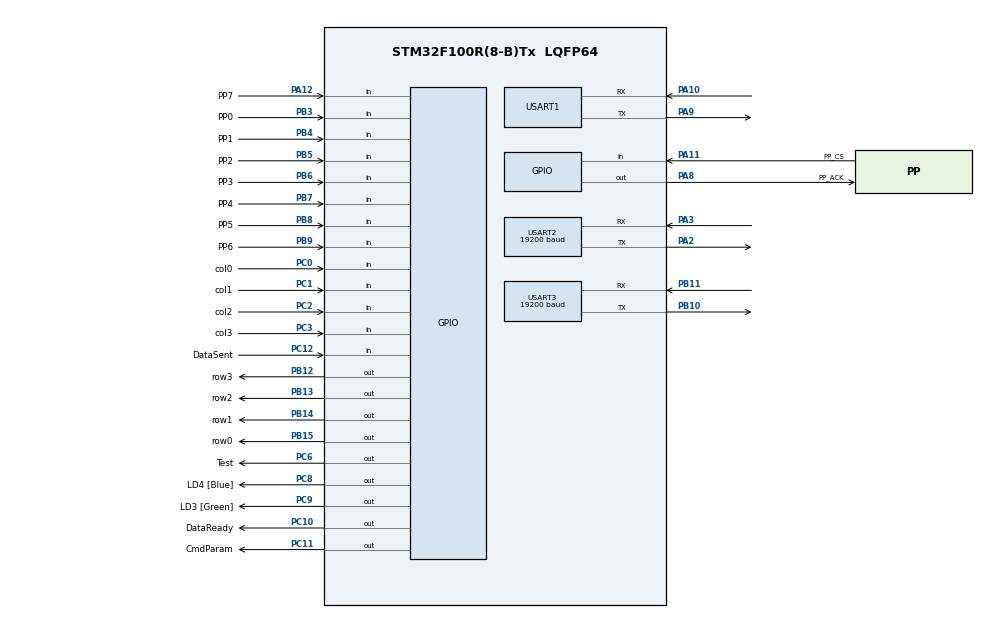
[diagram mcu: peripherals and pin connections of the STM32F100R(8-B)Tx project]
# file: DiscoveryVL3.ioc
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FREERTOS.HEAP_NUMBER=3
FREERTOS.Queues01=keypressed,16,uint16_t,0,Dynamic,NULL,NULL;Send7200,16,uint16_t,0,Dynamic,NULL,NULL;SendAVR,16,uint16_t,0,Dynamic,NULL,NULL;SendFPGA,16,uint16_t,0,Dynamic,NULL,NULL
FREERTOS.Tasks01=defaultTask,0,128,StartDefaultTask,Default,NULL,Dynamic,NULL,NULL;myTask04,-3,128,StartAVRTask,Default,NULL,Dynamic,NULL,NULL;myTask05,-3,128,StartTask7200,Default,NULL,Dynamic,NULL,NULL;myTask06,-3,128,StartRecv7200,Default,NULL,Dynamic,NULL,NULL;myTask08,-3,128,StartSendFPGA,Default,NULL,Dynamic,NULL,NULL;myTask09,-3,128,StartRecvFPGA,Default,NULL,Dynamic,NULL,NULL;myTask10,-3,128,StartKeyStateTask,Default,NULL,Dynamic,NULL,NULL
FREERTOS.Timers01=myTimer01,Callback01,osTimerPeriodic,Default,NULL,Dynamic,NULL
FREERTOS.configTOTAL_HEAP_SIZE=8000
FREERTOS.configUSE_TIMERS=1
Mcu.Family=STM32F1
Mcu.Name=STM32F100R(8-B)Tx
Mcu.Package=LQFP64
NVIC.PriorityGroup=NVIC_PRIORITYGROUP_4
NVIC.TIM1_UP_TIM16_IRQn=true\:0\:0\:false\:false\:true\:false\:false
NVIC.TimeBase=TIM1_UP_TIM16_IRQn
NVIC.TimeBaseIP=TIM1
NVIC.USART1_IRQn=true\:5\:0\:false\:false\:true\:true\:true
PA0-WKUP.Mode=SYS_WakeUp0
PA0-WKUP.Signal=SYS_WKUP
PA10.Mode=Asynchronous
PA10.Signal=USART1_RX
PA11.GPIO_Label=PP_CS
PA11.GPIO_PuPd=GPIO_PULLUP
PA11.Signal=GPIO_Input
PA12.GPIO_Label=PP7
PA12.GPIO_PuPd=GPIO_PULLUP
PA12.Signal=GPIO_Input
PA13.GPIO_Label=TMS_SWDIO
PA13.Mode=Serial_Wire
PA13.Signal=SYS_JTMS-SWDIO
PA14.GPIO_Label=TCK_SWCLK
PA14.Mode=Serial_Wire
PA14.Signal=SYS_JTCK-SWCLK
PA2.Mode=Asynchronous
PA2.Signal=USART2_TX
PA3.Mode=Asynchronous
PA3.Signal=USART2_RX
PA8.GPIO_Label=PP_ACK
PA8.GPIO_PuPd=GPIO_PULLUP
PA8.Signal=GPIO_Output
PA9.Mode=Asynchronous
PA9.Signal=USART1_TX
PB10.Mode=Asynchronous
PB10.Signal=USART3_TX
PB11.Mode=Asynchronous
PB11.Signal=USART3_RX
PB12.GPIO_Label=row3
PB12.GPIO_PuPd=GPIO_PULLUP
PB12.Signal=GPIO_Output
PB13.GPIO_Label=row2
PB13.GPIO_PuPd=GPIO_PULLUP
PB13.Signal=GPIO_Output
PB14.GPIO_Label=row1
PB14.GPIO_PuPd=GPIO_PULLUP
PB14.Signal=GPIO_Output
PB15.GPIO_Label=row0
PB15.GPIO_PuPd=GPIO_PULLUP
PB15.Signal=GPIO_Output
PB3.GPIO_Label=PP0
PB3.GPIO_PuPd=GPIO_PULLUP
PB3.Signal=GPIO_Input
PB4.GPIO_Label=PP1
PB4.GPIO_PuPd=GPIO_PULLUP
PB4.Signal=GPIO_Input
PB5.GPIO_Label=PP2
PB5.GPIO_PuPd=GPIO_PULLUP
PB5.Signal=GPIO_Input
PB6.GPIO_Label=PP3
PB6.GPIO_PuPd=GPIO_PULLUP
PB6.Signal=GPIO_Input
PB7.GPIO_Label=PP4
PB7.GPIO_PuPd=GPIO_PULLUP
PB7.Signal=GPIO_Input
PB8.GPIO_Label=PP5
PB8.GPIO_PuPd=GPIO_PULLUP
PB8.Signal=GPIO_Input
PB9.GPIO_Label=PP6
PB9.GPIO_PuPd=GPIO_PULLUP
PB9.Signal=GPIO_Input
PC0.GPIO_Label=col0
PC0.GPIO_PuPd=GPIO_PULLUP
PC0.Signal=GPIO_Input
PC1.GPIO_Label=col1
PC1.GPIO_PuPd=GPIO_PULLUP
PC1.Signal=GPIO_Input
PC10.GPIO_Label=DataReady
PC10.GPIO_PuPd=GPIO_PULLUP
PC10.Signal=GPIO_Output
PC11.GPIO_Label=CmdParam
PC11.GPIO_PuPd=GPIO_PULLUP
PC11.Signal=GPIO_Output
PC12.GPIO_Label=DataSent
PC12.GPIO_PuPd=GPIO_PULLUP
PC12.Signal=GPIO_Input
PC14-OSC32_IN.Mode=LSE-External-Oscillator
PC14-OSC32_IN.Signal=RCC_OSC32_IN
PC15-OSC32_OUT.Mode=LSE-External-Oscillator
PC15-OSC32_OUT.Signal=RCC_OSC32_OUT
PC2.GPIO_Label=col2
PC2.GPIO_PuPd=GPIO_PULLUP
PC2.Signal=GPIO_Input
PC3.GPIO_Label=col3
PC3.GPIO_PuPd=GPIO_PULLUP
PC3.Signal=GPIO_Input
PC6.GPIO_Label=Test
PC6.GPIO_PuPd=GPIO_PULLUP
PC6.Signal=GPIO_Output
PC8.GPIO_Label=LD4 [Blue]
PC8.Signal=GPIO_Output
PC9.GPIO_Label=LD3 [Green]
PC9.Signal=GPIO_Output
PD0-OSC_IN.Mode=HSE-External-Oscillator
PD0-OSC_IN.Signal=RCC_OSC_IN
PD1-OSC_OUT.Mode=HSE-External-Oscillator
PD1-OSC_OUT.Signal=RCC_OSC_OUT
ProjectManager.HeapSize=0x200
ProjectManager.StackSize=0x400
ProjectManager.TargetToolchain=TrueSTUDIO
RCC.APB1Freq_Value=8000000
RCC.APB2Freq_Value=8000000
USART1.VirtualMode=VM_ASYNC
USART2.BaudRate=19200
USART2.VirtualMode=VM_ASYNC
USART3.BaudRate=19200
USART3.VirtualMode=VM_ASYNC
VP_FREERTOS_VS_ENABLE.Mode=Enabled
VP_SYS_VS_tim1.Mode=TIM1
board=STM32VLDISCOVERY

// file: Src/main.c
/* USER CODE BEGIN Header */
/**
  ******************************************************************************
  * @file           : main.c
  * @brief          : Main program body
  ******************************************************************************
  * @attention
  *
  * <h2><center>&copy; Copyright (c) 2019 STMicroelectronics.
  * All rights reserved.</center></h2>
  *
  * This software component is licensed by ST under Ultimate Liberty license
  * SLA0044, the "License"; You may not use this file except in compliance with
  * the License. You may obtain a copy of the License at:
  *                             www.st.com/SLA0044
  *
  ******************************************************************************
  */
/* USER CODE END Header */

#include "main.h"
#include "cmsis_os.h"
#include "usart.h"
#include "gpio.h"

void SystemClock_Config(void);
void MX_FREERTOS_Init(void);

int main(void)
{

  /* MCU Configuration--------------------------------------------------------*/

  /* Reset of all peripherals, Initializes the Flash interface and the Systick. */
  HAL_Init();

  /* Configure the system clock */
  SystemClock_Config();

  /* Initialize all configured peripherals */
  MX_GPIO_Init();
  MX_USART1_UART_Init();
  MX_USART2_UART_Init();
  MX_USART3_UART_Init();

  /* Call init function for freertos objects (in freertos.c) */
  MX_FREERTOS_Init();

  /* Start scheduler */
  osKernelStart();

  /* We should never get here as control is now taken by the scheduler */

  /* Infinite loop */
  while (1)
  {

  }
}

void SystemClock_Config(void)
{
  RCC_OscInitTypeDef RCC_OscInitStruct = {0};
  RCC_ClkInitTypeDef RCC_ClkInitStruct = {0};

  /** Initializes the CPU, AHB and APB busses clocks
  */
  RCC_OscInitStruct.OscillatorType = RCC_OSCILLATORTYPE_HSI;
  RCC_OscInitStruct.HSIState = RCC_HSI_ON;
  RCC_OscInitStruct.HSICalibrationValue = RCC_HSICALIBRATION_DEFAULT;
  RCC_OscInitStruct.PLL.PLLState = RCC_PLL_NONE;
  if (HAL_RCC_OscConfig(&RCC_OscInitStruct) != HAL_OK)
  {
    Error_Handler();
  }
  /** Initializes the CPU, AHB and APB busses clocks
  */
  RCC_ClkInitStruct.ClockType = RCC_CLOCKTYPE_HCLK|RCC_CLOCKTYPE_SYSCLK
                              |RCC_CLOCKTYPE_PCLK1|RCC_CLOCKTYPE_PCLK2;
  RCC_ClkInitStruct.SYSCLKSource = RCC_SYSCLKSOURCE_HSI;
  RCC_ClkInitStruct.AHBCLKDivider = RCC_SYSCLK_DIV1;
  RCC_ClkInitStruct.APB1CLKDivider = RCC_HCLK_DIV1;
  RCC_ClkInitStruct.APB2CLKDivider = RCC_HCLK_DIV1;

  if (HAL_RCC_ClockConfig(&RCC_ClkInitStruct, FLASH_LATENCY_0) != HAL_OK)
  {
    Error_Handler();
  }
}

void HAL_TIM_PeriodElapsedCallback(TIM_HandleTypeDef *htim)
{
  if (htim->Instance == TIM1) {
    HAL_IncTick();
  }
}

void Error_Handler(void)
{
}

/************************ (C) COPYRIGHT STMicroelectronics *****END OF FILE****/

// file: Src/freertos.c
/* USER CODE BEGIN Header */
/**
  ******************************************************************************
  * File Name          : freertos.c
  * Description        : Code for freertos applications
  ******************************************************************************
  * This notice applies to any and all portions of this file
  * that are not between comment pairs USER CODE BEGIN and
  * USER CODE END. Other portions of this file, whether
  * inserted by the user or by software development tools
  * are owned by their respective copyright owners.
  *
  * Copyright (c) 2019 STMicroelectronics International N.V.
  * All rights reserved.
  *
  * Redistribution and use in source and binary forms, with or without
  * modification, are permitted, provided that the following conditions are met:
  *
  * 1. Redistribution of source code must retain the above copyright notice,
  *    this list of conditions and the following disclaimer.
  * 2. Redistributions in binary form must reproduce the above copyright notice,
  *    this list of conditions and the following disclaimer in the documentation
  *    and/or other materials provided with the distribution.
  * 3. Neither the name of STMicroelectronics nor the names of other
  *    contributors to this software may be used to endorse or promote products
  *    derived from this software without specific written permission.
  * 4. This software, including modifications and/or derivative works of this
  *    software, must execute solely and exclusively on microcontroller or
  *    microprocessor devices manufactured by or for STMicroelectronics.
  * 5. Redistribution and use of this software other than as permitted under
  *    this license is void and will automatically terminate your rights under
  *    this license.
  *
  * THIS SOFTWARE IS PROVIDED BY STMICROELECTRONICS AND CONTRIBUTORS "AS IS"
  * AND ANY EXPRESS, IMPLIED OR STATUTORY WARRANTIES, INCLUDING, BUT NOT
  * LIMITED TO, THE IMPLIED WARRANTIES OF MERCHANTABILITY, FITNESS FOR A
  * PARTICULAR PURPOSE AND NON-INFRINGEMENT OF THIRD PARTY INTELLECTUAL PROPERTY
  * RIGHTS ARE DISCLAIMED TO THE FULLEST EXTENT PERMITTED BY LAW. IN NO EVENT
  * SHALL STMICROELECTRONICS OR CONTRIBUTORS BE LIABLE FOR ANY DIRECT, INDIRECT,
  * INCIDENTAL, SPECIAL, EXEMPLARY, OR CONSEQUENTIAL DAMAGES (INCLUDING, BUT NOT
  * LIMITED TO, PROCUREMENT OF SUBSTITUTE GOODS OR SERVICES; LOSS OF USE, DATA,
  * OR PROFITS; OR BUSINESS INTERRUPTION) HOWEVER CAUSED AND ON ANY THEORY OF
  * LIABILITY, WHETHER IN CONTRACT, STRICT LIABILITY, OR TORT (INCLUDING
  * NEGLIGENCE OR OTHERWISE) ARISING IN ANY WAY OUT OF THE USE OF THIS SOFTWARE,
  * EVEN IF ADVISED OF THE POSSIBILITY OF SUCH DAMAGE.
  *
  ******************************************************************************
  */
/* USER CODE END Header */
#if 1
#include "FreeRTOS.h"
#include "task.h"
#include "main.h"
#include "cmsis_os.h"

/* USER CODE BEGIN Includes */
#include "dwt_stm32_delay.h"
#include "../mytypes.h"
#include "ds1620.h"
#include "freertos_defs.h"
#include "usart.h"
#include "screen.h"
#include "string.h"
#include "stdlib.h"
#include "gpio.h"

/* USER CODE END Includes */

/* USER CODE BEGIN PTD */
#define SEND_FPGA_DELAY() vTaskDelay(5)
// WARNING! - if this gets pulled up on STM32CubeMX it will reset the queues
// to 16 of uint16_t instead of  5 of uint64_t which has to be manually setOneRowLow
// I just forgot to change it when I redid the whole thing under CubeMX
// however, the keypressedHandle is still 16 of uint16_t tho...
typedef enum
{
	STATE_WAIT_FOR_PRESS = 1,
	STATE_WAIT_FOR_RELEASE
} ISRSTATE;

static ISRSTATE e_isrState;

const uint8_t au8_keyTable[NUM_ROWS][NUM_COLS] =
{
/*
	{KP_1, KP_2, KP_3, KP_A },
	{KP_4, KP_5, KP_6, KP_B },
	{KP_7, KP_8, KP_9, KP_C },
	{KP_AST, KP_0, KP_POUND, KP_D}
*/
	{KP_AST, KP_0, KP_POUND, KP_D},
	{KP_7, KP_8, KP_9, KP_C },
	{KP_4, KP_5, KP_6, KP_B },
	{KP_1, KP_2, KP_3, KP_A }
};

uint64_t pack64(UCHAR *buff);
//uint32_t pack32(UCHAR *buff);

/* USER CODE END PTD */

/* USER CODE BEGIN Variables */
// variables used by the DS1620 conversion in timer Callback01
uint64_t global_avr_buffer[5];
UCHAR global_ucbuff[8];
UCHAR global_cmd;
static int raw_data;	// engine temp
static int raw_data2;	// indoor temp
static int temp_raw;
static int test_rise_temp;
static int too_high_flag;
static int cooling_fan_override;
static int blower_override;
static uint16_t engine_temp_limit = 190;
static uint16_t fan_on_temp = 175;	// 185F
static uint16_t fan_off_temp = 150;
static uint16_t blower1_temp = 65;
static uint16_t blower2_temp = 55;
static uint16_t blower3_temp = 45;
static uint16_t blower_en_temp = 70;
static uint16_t batt_box_temp = 75;
static int blower_on_countdown = 5;
static int send_adc = 0;
//static uint16_t lights_on_delay = 5;	// default is 3 seconds
//static UCHAR key_mode1, key_mode2;
static int server_up = 0;
//static UCHAR buff[SERIAL_BUFF_SIZE+1];
static int timer_toggle;
static int blower_on;
static int fan_on;
static int engine_on;
//static int system_up;
static int run_time;
static int rtdata_update_rate;

static KEY_MODE key_mode;
/*	(from freertos_defs.h)
typedef enum
{
	NORMAL,
	PASSWORD,
	NUM_ENTRY,
}KEY_MODE;
*/
static char password[PASSWORD_SIZE];
static char correct_password[PASSWORD_SIZE];
static int password_ptr = 0;
static int password_retries = 3;
static int password_countdown = 0;
static int init_password_retries = 3;
static int init_password_countdown = 10;

//static char num_entry_num[SIZE_NUM];
//static int task7on;

static void setOneRowLow(uint8_t u8_x)
{
	switch (u8_x)
	{
		case 0:

			HAL_GPIO_WritePin(GPIOB, row0, GPIO_PIN_SET);
			HAL_GPIO_WritePin(GPIOB, row1, GPIO_PIN_SET);
			HAL_GPIO_WritePin(GPIOB, row2, GPIO_PIN_SET);
			HAL_GPIO_WritePin(GPIOB, row3, GPIO_PIN_RESET);
			break;
		case 1:
			HAL_GPIO_WritePin(GPIOB, row0, GPIO_PIN_SET);
			HAL_GPIO_WritePin(GPIOB, row1, GPIO_PIN_SET);
			HAL_GPIO_WritePin(GPIOB, row2, GPIO_PIN_RESET);
			HAL_GPIO_WritePin(GPIOB, row3, GPIO_PIN_SET);
			break;
		case 2:
			HAL_GPIO_WritePin(GPIOB, row0, GPIO_PIN_SET);
			HAL_GPIO_WritePin(GPIOB, row1, GPIO_PIN_RESET);
			HAL_GPIO_WritePin(GPIOB, row2, GPIO_PIN_SET);
			HAL_GPIO_WritePin(GPIOB, row3, GPIO_PIN_SET);
			break;
		case 3:
			HAL_GPIO_WritePin(GPIOB, row0, GPIO_PIN_RESET);
			HAL_GPIO_WritePin(GPIOB, row1, GPIO_PIN_SET);
			HAL_GPIO_WritePin(GPIOB, row2, GPIO_PIN_SET);
			HAL_GPIO_WritePin(GPIOB, row3, GPIO_PIN_SET);
			break;
		default:
			HAL_GPIO_WritePin(GPIOB, row0, GPIO_PIN_SET);
			HAL_GPIO_WritePin(GPIOB, row1, GPIO_PIN_SET);
			HAL_GPIO_WritePin(GPIOB, row2, GPIO_PIN_SET);
			HAL_GPIO_WritePin(GPIOB, row3, GPIO_PIN_SET);
			break;
	}
}

static void drive_row_high(void)
{
	HAL_GPIO_WritePin(GPIOB, row0, GPIO_PIN_SET);
	HAL_GPIO_WritePin(GPIOB, row1, GPIO_PIN_SET);
	HAL_GPIO_WritePin(GPIOB, row2, GPIO_PIN_SET);
	HAL_GPIO_WritePin(GPIOB, row3, GPIO_PIN_SET);
}

/*
int key_is_pressed(void)
{
	GPIO_PinState state0, state1, state2, state3;

	state0 = HAL_GPIO_ReadPin(GPIOC,col0);
	state1 = HAL_GPIO_ReadPin(GPIOC,col1);
	state2 = HAL_GPIO_ReadPin(GPIOC,col2);
	state3 = HAL_GPIO_ReadPin(GPIOC,col3);
	if (state0 == GPIO_PIN_RESET || state1 == GPIO_PIN_RESET ||
					state2 == GPIO_PIN_RESET || state3 == GPIO_PIN_RESET)
		return 1;

	return 0;
}
*/

int key_is_released(void)
{
	GPIO_PinState state0, state1, state2, state3;

	state0 = HAL_GPIO_ReadPin(GPIOC,col0);
	state1 = HAL_GPIO_ReadPin(GPIOC,col1);
	state2 = HAL_GPIO_ReadPin(GPIOC,col2);
	state3 = HAL_GPIO_ReadPin(GPIOC,col3);
	if (state0 == GPIO_PIN_SET && state1 == GPIO_PIN_SET &&
					state2 == GPIO_PIN_SET && state3 == GPIO_PIN_SET)
		return 1;

	return 0;
}

UCHAR do_keyscan(void)
{
	uint8_t u8_row;
	UCHAR key_pressed;
	GPIO_PinState state;

	key_pressed = 0;
//	drive_row_high();

	for (u8_row = 0; u8_row < NUM_ROWS; u8_row++)
	{
		setOneRowLow(u8_row);
//			vTaskDelay(1);
		state = HAL_GPIO_ReadPin(GPIOC,col0);
		if(state == GPIO_PIN_RESET)
		{
			key_pressed = (au8_keyTable[u8_row][0]);
			return key_pressed;
		}
		state = HAL_GPIO_ReadPin(GPIOC,col1);
		if(state == GPIO_PIN_RESET)
		{
			key_pressed = (au8_keyTable[u8_row][1]);
			return key_pressed;
		}
		state = HAL_GPIO_ReadPin(GPIOC,col2);
		if(state == GPIO_PIN_RESET)
		{
			key_pressed = (au8_keyTable[u8_row][2]);
			return key_pressed;
		}
		state = HAL_GPIO_ReadPin(GPIOC,col3);
		if(state == GPIO_PIN_RESET)
		{
			key_pressed = (au8_keyTable[u8_row][3]);
			return key_pressed;
		}
	}
	return 0;
}

/* USER CODE END Variables */
osThreadId defaultTaskHandle;
osThreadId myTask04Handle;
osThreadId myTask05Handle;
osThreadId myTask06Handle;
osThreadId myTask08Handle;
osThreadId myTask09Handle;
osThreadId myTask10Handle;
osMessageQId keypressedHandle;
osMessageQId Send7200Handle;
osMessageQId SendMonitorHandle;
osMessageQId SendFPGAHandle;
osTimerId myTimer01Handle;

static void check_password(int num)
{
	UCHAR cmd;
	uint64_t avr_buffer[5];
	UCHAR ucbuff[8];
	int i;
/*
	cmd = PASSWORD_BAD;
	ucbuff[0] = cmd;
	ucbuff[1] = (UCHAR)num;
	ucbuff[2] = (UCHAR)password_ptr;
	avr_buffer[0] = pack64(ucbuff);
	xQueueSend(Send7200Handle, avr_buffer, 0);
	vTaskDelay(100);
*/
	itoa(num, &password[password_ptr],10);
	if(password[password_ptr] != correct_password[password_ptr])
	{
/*
		cmd = PASSWORD_BAD;
		ucbuff[0] = cmd;
		ucbuff[1] = (UCHAR)num;
		ucbuff[2] = (UCHAR)password_retries;
		avr_buffer[0] = pack64(ucbuff);
		xQueueSend(Send7200Handle, avr_buffer, 0);
*/
		password_ptr = 0;
		password_retries--;
		password_countdown = init_password_countdown;
		memset(password,0,PASSWORD_SIZE);

		if(password_retries < 1)
		{
			// tell TS-7200 to turn off engine
			password_countdown = 0;
			password_retries = init_password_retries;
			ucbuff[0] = SPECIAL_TONE_ON;
			avr_buffer[0] = pack64(ucbuff);
			xQueueSend(SendFPGAHandle,avr_buffer,0);
			vTaskDelay(1000);
			global_ucbuff[0] = DTMF_TONE_OFF;
			global_avr_buffer[0] = pack64(ucbuff);
			xQueueSend(SendFPGAHandle, avr_buffer,0);
			vTaskDelay(20);
			cmd = SHUTDOWN;
			ucbuff[0] = cmd;
			avr_buffer[0] = pack64(ucbuff);
			xQueueSend(Send7200Handle, avr_buffer, 0);
		}
//	}else if(password_ptr == password_len)
	}else if(password_ptr >= 3 && strcmp(password,correct_password) == 0)
	{
		password_countdown = password_ptr = 0;
		password_retries = init_password_retries;

		key_mode = NORMAL;
//		cmd = PASSWORD_OK;
		ucbuff[0] = cmd;
		avr_buffer[0] = pack64(ucbuff);
		xQueueSend(Send7200Handle, avr_buffer, 0);

		for(i = 0;i < 5;i++)
		{
			global_ucbuff[0] = DTMF_TONE_ON;
			global_ucbuff[1] = i;
			global_avr_buffer[0] = pack64(global_ucbuff);
			xQueueSend(SendFPGAHandle,global_avr_buffer,0);
			vTaskDelay(20);
			global_ucbuff[0] = DTMF_TONE_OFF;
			global_avr_buffer[0] = pack64(global_ucbuff);
			xQueueSend(SendFPGAHandle,global_avr_buffer,0);
			vTaskDelay(20);

		}
		password_countdown = 0;
		key_mode = NORMAL;
	}else
		password_ptr++;
}

void StartDefaultTask(void const * argument);
void StartMonitorTask(void const * argument);
void StartTask7200(void const * argument);
void StartRecv7200(void const * argument);
void StartSendFPGA(void const * argument);
void StartRecvFPGA(void const * argument);
void StartKeyStateTask(void const * argument);
void Callback01(void const * argument);

//#endif
void MX_FREERTOS_Init(void); /* (MISRA C 2004 rule 8.1) */

void MX_FREERTOS_Init(void) {

  /* Create the timer(s) */
  /* definition and creation of myTimer01 */
  osTimerDef(myTimer01, Callback01);
  myTimer01Handle = osTimerCreate(osTimer(myTimer01), osTimerPeriodic, NULL);

  /* Create the thread(s) */
  /* definition and creation of defaultTask */
  osThreadDef(defaultTask, StartDefaultTask, osPriorityNormal, 0, 128);
  defaultTaskHandle = osThreadCreate(osThread(defaultTask), NULL);

  /* definition and creation of myTask04 */
//  osThreadDef(myTask04, StartMonitorTask, osPriorityIdle, 0, 128);
//  myTask04Handle = osThreadCreate(osThread(myTask04), NULL);

  /* definition and creation of myTask05 */
  osThreadDef(myTask05, StartTask7200, osPriorityIdle, 0, 128);
  myTask05Handle = osThreadCreate(osThread(myTask05), NULL);

  /* definition and creation of myTask06 */
  osThreadDef(myTask06, StartRecv7200, osPriorityIdle, 0, 128);
  myTask06Handle = osThreadCreate(osThread(myTask06), NULL);

  /* definition and creation of myTask08 */
  osThreadDef(myTask08, StartSendFPGA, osPriorityIdle, 0, 128);
  myTask08Handle = osThreadCreate(osThread(myTask08), NULL);

  /* definition and creation of myTask09 */
  osThreadDef(myTask09, StartRecvFPGA, osPriorityIdle, 0, 128);
  myTask09Handle = osThreadCreate(osThread(myTask09), NULL);

  /* definition and creation of myTask10 */
  osThreadDef(myTask10, StartKeyStateTask, osPriorityIdle, 0, 128);
  myTask10Handle = osThreadCreate(osThread(myTask10), NULL);

  /* Create the queue(s) */
  /* definition and creation of keypressed */
  osMessageQDef(keypressed, 16, uint16_t);
  keypressedHandle = osMessageCreate(osMessageQ(keypressed), NULL);

  /* definition and creation of Send7200 */
  osMessageQDef(Send7200, 10, uint64_t);
  Send7200Handle = osMessageCreate(osMessageQ(Send7200), NULL);

  /* definition and creation of SendTS7800 */
  osMessageQDef(SendTS7800, 10, uint64_t);
  SendMonitorHandle = osMessageCreate(osMessageQ(SendTS7800), NULL);

  /* definition and creation of SendFPGA */
  osMessageQDef(SendFPGA, 10, uint64_t);
  SendFPGAHandle = osMessageCreate(osMessageQ(SendFPGA), NULL);

  /* USER CODE BEGIN RTOS_QUEUES */
  /* add queues, ... */
  /* note: Send7200, SendTS7800 & SendFPGA must be reset from uint16_t to uint64_t */
  /* after pulling up in MXCube */
  /* USER CODE END RTOS_QUEUES */
}
#endif
void StartDefaultTask(void const * argument)
{

  /* USER CODE BEGIN StartDefaultTask */
	uint64_t avr_buffer[5];
	UCHAR ucbuff[8];
	UCHAR key;
	UCHAR cmd;
	uint16_t recval;
//	int row, col;

	fan_on = 0;
	blower_on = 0;
	engine_on = 0;
  	timer_toggle = 0;
	run_time = 0;
//	key_mode = PASSWORD;
	key_mode = NORMAL;
	temp_raw = raw_data = 4;
	raw_data2 = 4;
	cooling_fan_override = 0;
	blower_override = 0;

	memset(correct_password,0,sizeof(correct_password));
	strcpy(correct_password,"4567\0");
	memset(password,0,PASSWORD_SIZE);
	osTimerStart(myTimer01Handle,1000);
//	DWT_Delay_Init();		// for using DWT_Delay_us(microseconds) delay (but why?)

	vTaskDelay(1000);

	init_DS1620();
	vTaskDelay(10);
	initDS1620();

	init_DS16202();
	vTaskDelay(10);
	initDS16202();

  /* Infinite loop */

  for(;;)
  {
		xQueueReceive(keypressedHandle, &recval, portMAX_DELAY);
		key = (UCHAR)recval;
		cmd = 0;

		ucbuff[0] = key;
		avr_buffer[0] = pack64(ucbuff);
		xQueueSend(Send7200Handle, avr_buffer, 0);
		switch(key)
		{
			case KP_A:
				ucbuff[0] = NAV_UP;
				avr_buffer[0] = pack64(ucbuff);
				xQueueSend(Send7200Handle, avr_buffer, 0);
			break;

			case KP_B:
				ucbuff[0] = NAV_DOWN;
				avr_buffer[0] = pack64(ucbuff);
				xQueueSend(Send7200Handle, avr_buffer, 0);
			break;

			case KP_C:
				ucbuff[0] = NAV_CLICK;
				avr_buffer[0] = pack64(ucbuff);
				xQueueSend(Send7200Handle, avr_buffer, 0);
			break;

			case KP_D:
				ucbuff[0] = NAV_CLOSE;
				avr_buffer[0] = pack64(ucbuff);
				xQueueSend(Send7200Handle, avr_buffer, 0);
			break;

			case KP_AST:
				ucbuff[0] = NAV_SIDE;
				avr_buffer[0] = pack64(ucbuff);
				xQueueSend(Send7200Handle, avr_buffer, 0);
			break;

			case KP_POUND:
/*
				if(key_mode == NORMAL)
				{
					running_lights_on = 1;
					cmd = ON_RUNNING_LIGHTS;
					ucbuff[0] = cmd;
					avr_buffer[0] = pack64(ucbuff);
					xQueueSend(Send7200Handle, avr_buffer, 0);
					vTaskDelay(200);
					cmd = ON_LIGHTS;
					ucbuff[0] = cmd;
					avr_buffer[0] = pack64(ucbuff);
					xQueueSend(Send7200Handle, avr_buffer, 0);
					lights_on = 1;
				}
*/
			break;

			default:
				ucbuff[0] = DTMF_TONE_ON;
				ucbuff[1] = 10;
				avr_buffer[0] = pack64(ucbuff);
				xQueueSend(SendFPGAHandle,avr_buffer,0);
				vTaskDelay(20);
				ucbuff[0] = DTMF_TONE_ON;
				ucbuff[1] = 9;
				avr_buffer[0] = pack64(ucbuff);
				xQueueSend(SendFPGAHandle,avr_buffer,0);
				vTaskDelay(20);
				ucbuff[0] = DTMF_TONE_OFF;
				avr_buffer[0] = pack64(ucbuff);
				xQueueSend(SendFPGAHandle,avr_buffer,0);
			break;
		}
		vTaskDelay(10);
	}
  /* USER CODE END StartDefaultTask */
}

void StartMonitorTask(void const * argument)
{
  /* USER CODE BEGIN StartMonitorTask */
	uint64_t avr_buffer[10];
	UCHAR ucbuff[10];
	UCHAR temp;

  /* Infinite loop */

	for(;;)
	{
		xQueueReceive(SendMonitorHandle, avr_buffer, portMAX_DELAY);
			ucbuff[0] = (UCHAR)avr_buffer[0];
			avr_buffer[0] >>= 8;
			ucbuff[1] = (UCHAR)avr_buffer[0];
			avr_buffer[0] >>= 8;

			ucbuff[2] = (UCHAR)avr_buffer[0];
			avr_buffer[0] >>= 8;

			ucbuff[3] = (UCHAR)avr_buffer[0];
			avr_buffer[0] >>= 8;

			ucbuff[4] = (UCHAR)avr_buffer[0];
			avr_buffer[0] >>= 8;

			ucbuff[5] = (UCHAR)avr_buffer[0];
			avr_buffer[0] >>= 8;

			ucbuff[6] = (UCHAR)avr_buffer[0];
			avr_buffer[0] >>= 8;

			ucbuff[7] = (UCHAR)avr_buffer[0];
			avr_buffer[0] >>= 8;

//			HAL_UART_Transmit(&huart2, &start_byte, 1, 100);
	}
  /* USER CODE END StartMonitorTask */
}

void StartTask7200(void const * argument)
{
  /* USER CODE BEGIN StartTask7200 */
  	uint64_t avr_buffer[5];
	UCHAR ucbuff[SERIAL_BUFF_SIZE];
	UCHAR marker = 0xFF;

	memset(ucbuff,0,sizeof(ucbuff));
	vTaskDelay(15000);
	/* Infinite loop */
	for(;;)
	{
		xQueueReceive(Send7200Handle, avr_buffer, portMAX_DELAY);

		ucbuff[0] = (UCHAR)avr_buffer[0];
		avr_buffer[0] >>= 8;

		ucbuff[1] = (UCHAR)avr_buffer[0];
		avr_buffer[0] >>= 8;

		ucbuff[2] = (UCHAR)avr_buffer[0];
		avr_buffer[0] >>= 8;

		ucbuff[3] = (UCHAR)avr_buffer[0];
		avr_buffer[0] >>= 8;

		ucbuff[4] = (UCHAR)avr_buffer[0];
		avr_buffer[0] >>= 8;

		ucbuff[5] = (UCHAR)avr_buffer[0];
		avr_buffer[0] >>= 8;

		ucbuff[6] = (UCHAR)avr_buffer[0];
		avr_buffer[0] >>= 8;

		ucbuff[7] = (UCHAR)avr_buffer[0];
		avr_buffer[0] >>= 8;

//		if(system_up == 1)
		if(server_up == 1)
		{
			HAL_UART_Transmit(&huart1, &marker, 1, 100);
			HAL_UART_Transmit(&huart1, &ucbuff[0], SERIAL_BUFF_SIZE, 100);
		}
		//		HAL_UART_Transmit_IT(&huart1, &marker, 1);
		//		HAL_UART_Transmit_IT(&huart1, &ucbuff[0], SERIAL_BUFF_SIZE);
		/*
		HAL_UART_Receive(&huart1, &Recv7200buff[0], SERIAL_BUFF_SIZE, 1000);

		vTaskDelay(100);
		*/
	}
  /* USER CODE END StartTask7200 */
}

void StartRecv7200(void const * argument)
{
  /* USER CODE BEGIN StartRecv7200 */
	UCHAR cmd;
	int i;
//	int j = 99;
//	int k = 0;
	UINT utemp;
	uint64_t avr_buffer[5];

	UCHAR buff[SERIAL_BUFF_SIZE+1];
//  	uint64_t avr_buffer[5];
//	UCHAR ucbuff[SERIAL_BUFF_SIZE];
//	UCHAR marker = 0xFF;
//	UCHAR tone;
	test_rise_temp = 0;
	too_high_flag = 0;
	UCHAR ucbuff[10];

	/* Infinite loop */
	vTaskDelay(1000);
	for(;;)
	{
//		HAL_UART_Receive_IT(&huart1, &cmd, 1);
//		memset(buff,0,SERIAL_BUFF_SIZE+1);
		HAL_UART_Receive_IT(&huart1, &buff[0], SERIAL_BUFF_SIZE+1);
		cmd = buff[0];

		if((cmd >= ENABLE_START && cmd <= WIPER_OFF) || cmd == SERVER_UP ||
				cmd == SERVER_DOWN || cmd == SEND_CONFIG2 || cmd == GET_CONFIG2 ||
				cmd == ADC_GATE || cmd == SET_ADC_RATE || cmd == SET_FPGA_RATE ||
				cmd == SET_RPM_MPH_RATE || cmd == HIGH_REV_LIMIT || cmd == LOW_REV_LIMIT ||
				cmd == SEND_REV_LIMIT_OVERRIDE || cmd == SEND_FP_OVERRIDE)
		{
			switch (cmd)
			{
				case 	ON_FAN:				// 7
					fan_on = 1;
					break;
				case 	OFF_FAN:			// 8
					fan_on = 0;
					break;
				case 	SPECIAL_CMD:
					break;
				case 	START_SEQ:
					engine_on = 1;
					blower_on_countdown = 5;
					break;
				case 	SHUTDOWN:
				case 	ESTOP_SIGNAL:
					engine_on = 0;
					break;

				case SERVER_UP:

					engine_temp_limit = (uint16_t)buff[2];
					engine_temp_limit <<= 8;
					engine_temp_limit |= (uint16_t)buff[1];

					fan_on_temp = (uint16_t)buff[4];
					fan_on_temp <<= 8;
					fan_on_temp |= (uint16_t)buff[3];

 					fan_off_temp = (uint16_t)buff[6];
					fan_off_temp <<= 8;
					fan_off_temp |= (uint16_t)buff[5];

 					blower1_temp = (uint16_t)buff[8];
					blower1_temp <<= 8;
					blower1_temp |= (uint16_t)buff[7];

 					blower2_temp = (uint16_t)buff[10];
					blower2_temp <<= 8;
					blower2_temp |= (uint16_t)buff[9];

 					blower3_temp = (uint16_t)buff[12];
					blower3_temp <<= 8;
					blower3_temp |= (uint16_t)buff[11];

 					blower_en_temp = (uint16_t)buff[14];
					blower_en_temp <<= 8;
					blower_en_temp |= (uint16_t)buff[13];
/*
 					init_password_countdown = (uint16_t)buff[16];
					init_password_countdown <<= 8;
					init_password_countdown |= (uint16_t)buff[15];

 					init_password_retries = (uint16_t)buff[18];
					init_password_retries <<= 8;
					init_password_retries |= (uint16_t)buff[17];
*/
					for(i = 0;i < 20;i++)
					{
						if(timer_toggle == 0)
						{
							HAL_GPIO_WritePin(LD3_GPIO_Port, LD3_Pin, GPIO_PIN_RESET);
							HAL_GPIO_WritePin(LD4_GPIO_Port, LD4_Pin, GPIO_PIN_SET);
							vTaskDelay(50);
							timer_toggle = 1;
						}else
						{
							HAL_GPIO_WritePin(LD4_GPIO_Port, LD4_Pin, GPIO_PIN_RESET);
							HAL_GPIO_WritePin(LD3_GPIO_Port, LD3_Pin, GPIO_PIN_SET);
							vTaskDelay(50);
							timer_toggle = 0;
						}
					}

					HAL_GPIO_WritePin(LD3_GPIO_Port, LD3_Pin, GPIO_PIN_RESET);
					HAL_GPIO_WritePin(LD3_GPIO_Port, LD4_Pin, GPIO_PIN_RESET);
/*
					for(i = 0;i < 4;i++)
					{
						ucbuff[0] = DTMF_TONE_ON;
						ucbuff[1] = (UCHAR)i;
						avr_buffer[0] = pack64(ucbuff);
						xQueueSend(SendFPGAHandle,avr_buffer,0);
						vTaskDelay(10);
						ucbuff[0] = DTMF_TONE_OFF;
						avr_buffer[0] = pack64(ucbuff);
						xQueueSend(SendFPGAHandle,avr_buffer,0);
						vTaskDelay(10);
					}
*/
					server_up = 1;
					break;

				case SERVER_DOWN:
/*
					for(i = 4;i > 0;i--)
					{
						ucbuff[0] = DTMF_TONE_ON;
						ucbuff[1] = (UCHAR)i;
						avr_buffer[0] = pack64(ucbuff);
						xQueueSend(SendFPGAHandle,avr_buffer,0);
						vTaskDelay(10);
						ucbuff[0] = DTMF_TONE_OFF;
						avr_buffer[0] = pack64(ucbuff);
						xQueueSend(SendFPGAHandle,avr_buffer,0);
						vTaskDelay(10);
					}
*/
					for(i = 0;i < 30;i++)
					{
						if(timer_toggle == 0)
						{
							HAL_GPIO_WritePin(LD3_GPIO_Port, LD3_Pin, GPIO_PIN_RESET);
							HAL_GPIO_WritePin(LD4_GPIO_Port, LD4_Pin, GPIO_PIN_SET);
							vTaskDelay(30);
							timer_toggle = 1;
						}else
						{
							HAL_GPIO_WritePin(LD4_GPIO_Port, LD4_Pin, GPIO_PIN_RESET);
							HAL_GPIO_WritePin(LD3_GPIO_Port, LD3_Pin, GPIO_PIN_SET);
							vTaskDelay(30);
							timer_toggle = 0;
						}
					}
					vTaskDelay(10);
					server_up = 0;
					break;

				case SEND_CONFIG2:
					ucbuff[0] = SET_RPM_MPH_UPDATE_RATE;
					ucbuff[1] = buff[1];
					avr_buffer[0] = pack64(ucbuff);
					xQueueSend(SendFPGAHandle,avr_buffer,0);
					vTaskDelay(100);

					ucbuff[0] = SET_FPGA_SEND_UPDATE_RATE;
					ucbuff[1] = buff[2];
					avr_buffer[0] = pack64(ucbuff);
					xQueueSend(SendFPGAHandle,avr_buffer,0);
					vTaskDelay(100);

					ucbuff[0] = SET_HIGH_REV_LIMIT;
					ucbuff[1] = buff[3];
					avr_buffer[0] = pack64(ucbuff);
					xQueueSend(SendFPGAHandle,avr_buffer,0);
					vTaskDelay(100);

					ucbuff[0] = SET_LOW_REV_LIMIT;
					ucbuff[1] = buff[4];
					avr_buffer[0] = pack64(ucbuff);
					xQueueSend(SendFPGAHandle,avr_buffer,0);
					vTaskDelay(100);

					fan_on_temp = (uint16_t)buff[6];
					fan_on_temp <<= 8;
					fan_on_temp |= (uint16_t)buff[5];

 					fan_off_temp = (uint16_t)buff[8];
					fan_off_temp <<= 8;
					fan_off_temp |= (uint16_t)buff[7];

 					blower_en_temp = (uint16_t)buff[10];
					blower_en_temp <<= 8;
					blower_en_temp |= (uint16_t)buff[9];

 					blower1_temp = (uint16_t)buff[12];
					blower1_temp <<= 8;
					blower1_temp |= (uint16_t)buff[11];

 					blower2_temp = (uint16_t)buff[14];
					blower2_temp <<= 8;
					blower2_temp |= (uint16_t)buff[13];

 					blower3_temp = (uint16_t)buff[16];
					blower3_temp <<= 8;
					blower3_temp |= (uint16_t)buff[15];

					engine_temp_limit = (uint16_t)buff[18];
					engine_temp_limit <<= 8;
					engine_temp_limit |= (uint16_t)buff[17];

					batt_box_temp = (uint16_t)buff[20];
					batt_box_temp <<= 8;
					batt_box_temp |= (uint16_t)buff[19];
/*
					init_password_countdown = (uint16_t)buff[18];
					init_password_countdown <<= 8;
					init_password_countdown |= (uint16_t)buff[17];

					init_password_retries = (uint16_t)buff[20];
					init_password_retries <<= 8;
					init_password_retries |= (uint16_t)buff[19];

					memcpy(&correct_password[0], &buff[21], 4);
					correct_password[4] = 0;
*/
					break;

				case GET_CONFIG2:
					// this is just to verify we are sending
					// the right data
					// serial send buffer can only send 8
					// bytes at a time so just send
					// 3 temps (plus cmd)
					// we can use the same cmd because it is
					// sent from the tcp switch/case and then
					// the same msg gets recv'd in the serial
					// receive task of the linux server
					ucbuff[0] = GET_CONFIG2;
					utemp = fan_on_temp;
					ucbuff[1] = (UCHAR)utemp;
					utemp >>= 8;
					ucbuff[2] = (UCHAR)utemp;

					utemp = fan_off_temp;
					ucbuff[3] = (UCHAR)utemp;
					utemp >>= 8;
					ucbuff[4] = (UCHAR)utemp;

					utemp = engine_temp_limit;
					ucbuff[5] = (UCHAR)utemp;
					utemp >>= 8;
					ucbuff[6] = (UCHAR)utemp;

					avr_buffer[0] = pack64(ucbuff);
					xQueueSend(Send7200Handle, avr_buffer, 0);
					vTaskDelay(100);
					break;

				case ADC_GATE:
					ucbuff[0] = ADC_CTL;
					ucbuff[1] = buff[1];
					avr_buffer[0] = pack64(ucbuff);
					xQueueSend(SendFPGAHandle,avr_buffer,0);
					if(buff[1] > 0)
						send_adc = 1;
					else send_adc = 0;
					break;

				case SET_ADC_RATE:
					ucbuff[0] = SET_ADC_RATE2;
					ucbuff[1] = buff[1];
					avr_buffer[0] = pack64(ucbuff);
					xQueueSend(SendFPGAHandle,avr_buffer,0);
					break;

				case SET_FPGA_RATE:
					ucbuff[0] = SET_FPGA_SEND_UPDATE_RATE;
					ucbuff[1] = buff[1];
					avr_buffer[0] = pack64(ucbuff);
					xQueueSend(SendFPGAHandle,avr_buffer,0);
					break;

				case SET_RPM_MPH_RATE:
					ucbuff[0] = SET_RPM_MPH_UPDATE_RATE;
					ucbuff[1] = buff[1];
					avr_buffer[0] = pack64(ucbuff);
					xQueueSend(SendFPGAHandle,avr_buffer,0);
					break;

				case HIGH_REV_LIMIT:
					ucbuff[0] = SET_HIGH_REV_LIMIT;
					ucbuff[1] = buff[1];
					avr_buffer[0] = pack64(ucbuff);
					xQueueSend(SendFPGAHandle,avr_buffer,0);
					break;

				case LOW_REV_LIMIT:
					ucbuff[0] = SET_LOW_REV_LIMIT;
					ucbuff[1] = buff[1];
					avr_buffer[0] = pack64(ucbuff);
					xQueueSend(SendFPGAHandle,avr_buffer,0);
					break;

				case SEND_REV_LIMIT_OVERRIDE:
					ucbuff[0] = REV_LIMIT_OVERRIDE;
					ucbuff[1] = buff[1];
					avr_buffer[0] = pack64(ucbuff);
					xQueueSend(SendFPGAHandle,avr_buffer,0);
					break;

				case SEND_FP_OVERRIDE:
					ucbuff[0] = FUEL_PUMP_OVERRIDE;
					ucbuff[1] = buff[1];
					avr_buffer[0] = pack64(ucbuff);
					xQueueSend(SendFPGAHandle,avr_buffer,0);
					break;

				default:
					break;
			}
			// relay the message onto the monitor task
			// (or later we can put this with each case stmnt)
			ucbuff[0] = cmd;
			avr_buffer[0] = pack64(ucbuff);
			xQueueSend(SendMonitorHandle,avr_buffer,0);
			memset(buff,0,SERIAL_BUFF_SIZE);
		}
		vTaskDelay(50);
	}
  /* USER CODE END StartRecv7200 */
}

void StartSendFPGA(void const * argument)
{
  /* USER CODE BEGIN StartSendFPGA */
	UCHAR cmd, param1, param2, param3, param4, param5, param6, param7;
	uint64_t rec_val[10];
//	int i;

	/* Infinite loop */
	for(;;)
	{
		xQueueReceive(SendFPGAHandle, rec_val, portMAX_DELAY);

		cmd = (UCHAR)rec_val[0];
		rec_val[0] >>= 8;

		param1 = (UCHAR)rec_val[0];
		rec_val[0] >>= 8;

		param2 = (UCHAR)rec_val[0];
		rec_val[0] >>= 8;

		param3 = (UCHAR)rec_val[0];
		rec_val[0] >>= 8;

		param4 = (UCHAR)rec_val[0];
		rec_val[0] >>= 8;

		param5 = (UCHAR)rec_val[0];
		rec_val[0] >>= 8;

		param6 = (UCHAR)rec_val[0];
		rec_val[0] >>= 8;

		param7 = (UCHAR)rec_val[0];

		HAL_GPIO_WritePin(GPIOC, CmdParam_Pin, GPIO_PIN_SET);
		HAL_GPIO_WritePin(GPIOC, DataReady_Pin, GPIO_PIN_SET);
		SEND_FPGA_DELAY();
		HAL_UART_Transmit(&huart3, &cmd, 1, 100);

		SEND_FPGA_DELAY();
		HAL_GPIO_WritePin(GPIOC, CmdParam_Pin, GPIO_PIN_RESET);
		HAL_GPIO_WritePin(GPIOC, DataReady_Pin, GPIO_PIN_RESET);
		SEND_FPGA_DELAY();

		HAL_GPIO_WritePin(GPIOC, DataReady_Pin, GPIO_PIN_SET);
		SEND_FPGA_DELAY();
		HAL_UART_Transmit(&huart3, &param1, 1, 100);
		SEND_FPGA_DELAY();
		HAL_GPIO_WritePin(GPIOC, DataReady_Pin, GPIO_PIN_RESET);
		SEND_FPGA_DELAY();

		HAL_GPIO_WritePin(GPIOC, DataReady_Pin, GPIO_PIN_SET);
		SEND_FPGA_DELAY();
		HAL_UART_Transmit(&huart3, &param2, 1, 100);
		SEND_FPGA_DELAY();
		HAL_GPIO_WritePin(GPIOC, DataReady_Pin, GPIO_PIN_RESET);
		SEND_FPGA_DELAY();

		HAL_GPIO_WritePin(GPIOC, DataReady_Pin, GPIO_PIN_SET);
		SEND_FPGA_DELAY();
		HAL_UART_Transmit(&huart3, &param3, 1, 100);
		SEND_FPGA_DELAY();
		HAL_GPIO_WritePin(GPIOC, DataReady_Pin, GPIO_PIN_RESET);

		HAL_GPIO_WritePin(GPIOC, DataReady_Pin, GPIO_PIN_SET);
		SEND_FPGA_DELAY();
		HAL_UART_Transmit(&huart3, &param4, 1, 100);
		SEND_FPGA_DELAY();
		HAL_GPIO_WritePin(GPIOC, DataReady_Pin, GPIO_PIN_RESET);

		HAL_GPIO_WritePin(GPIOC, DataReady_Pin, GPIO_PIN_SET);
		SEND_FPGA_DELAY();
		HAL_UART_Transmit(&huart3, &param5, 1, 100);
		SEND_FPGA_DELAY();
		HAL_GPIO_WritePin(GPIOC, DataReady_Pin, GPIO_PIN_RESET);

		HAL_GPIO_WritePin(GPIOC, DataReady_Pin, GPIO_PIN_SET);
		SEND_FPGA_DELAY();
		HAL_UART_Transmit(&huart3, &param6, 1, 100);
		SEND_FPGA_DELAY();
		HAL_GPIO_WritePin(GPIOC, DataReady_Pin, GPIO_PIN_RESET);

		HAL_GPIO_WritePin(GPIOC, DataReady_Pin, GPIO_PIN_SET);
		SEND_FPGA_DELAY();
		HAL_UART_Transmit(&huart3, &param7, 1, 100);
		SEND_FPGA_DELAY();
		HAL_GPIO_WritePin(GPIOC, DataReady_Pin, GPIO_PIN_RESET);

		param7 = 0xFF;
		HAL_GPIO_WritePin(GPIOC, DataReady_Pin, GPIO_PIN_SET);
		SEND_FPGA_DELAY();
		HAL_UART_Transmit(&huart3, &param7, 1, 100);
		SEND_FPGA_DELAY();
		HAL_GPIO_WritePin(GPIOC, DataReady_Pin, GPIO_PIN_RESET);
	}

  /* USER CODE END StartSendFPGA */
}

void StartRecvFPGA(void const * argument)
{
  /* USER CODE BEGIN StartRecvFPGA */
//	int i = 0;
	/* Infinite loop */
	UCHAR xbyte = 0;
	GPIO_PinState state;
	uint64_t avr_buffer[5];
	UCHAR ucbuff[8];
	UCHAR buff[25];
	int frame_ptr;

//	UINT rpm, mph;
//	rpm = 500;
//	mph = 1;

	rtdata_update_rate = 0;

	xbyte = 0x21;

	vTaskDelay(2000);
	HAL_GPIO_WritePin(GPIOA, PP_ACK_Pin, GPIO_PIN_SET);
	vTaskDelay(10);
	HAL_GPIO_WritePin(GPIOA, PP_ACK_Pin, GPIO_PIN_RESET);
	vTaskDelay(1);

	frame_ptr = 0;

  /* Infinite loop */

	for(;;)
	{

		if(server_up > 0)
		{

		do {
			state = HAL_GPIO_ReadPin(GPIOA,PP_CS_Pin);
		}while(state != GPIO_PIN_SET);

		state = HAL_GPIO_ReadPin(GPIOB,PP0_Pin);
		if(state == GPIO_PIN_SET)
			xbyte |= 1;
		state = HAL_GPIO_ReadPin(GPIOB,PP1_Pin);
		if(state == GPIO_PIN_SET)
			xbyte |= 0x2;
		state = HAL_GPIO_ReadPin(GPIOB,PP2_Pin);
		if(state == GPIO_PIN_SET)
			xbyte |= 0x4;
		state = HAL_GPIO_ReadPin(GPIOB,PP3_Pin);
		if(state == GPIO_PIN_SET)
			xbyte |= 0x8;
		state = HAL_GPIO_ReadPin(GPIOB,PP4_Pin);
		if(state == GPIO_PIN_SET)
			xbyte |= 0x10;
		state = HAL_GPIO_ReadPin(GPIOB,PP5_Pin);
		if(state == GPIO_PIN_SET)
			xbyte |= 0x20;
		state = HAL_GPIO_ReadPin(GPIOB,PP6_Pin);
		if(state == GPIO_PIN_SET)
			xbyte |= 0x40;
		state = HAL_GPIO_ReadPin(GPIOA,PP7_Pin);
		if(state == GPIO_PIN_SET)
			xbyte |= 0x80;

		do {
			state = HAL_GPIO_ReadPin(GPIOA,PP_CS_Pin);
		}while(state != GPIO_PIN_RESET);

		if(xbyte == 0xFE)
		{
			frame_ptr = 0;

#if 0
			if(rpm++ > 5000)		// simulate data for testing
				rpm = 500;
			if(++mph > 100)
				mph = 1;
#endif

			if(engine_on != 0)
			{
				ucbuff[0] = SEND_RT_VALUES1;	// rpm & mph
/*
				ucbuff[1] = (UCHAR)rpm;
				ucbuff[2] = (UCHAR)(rpm << 8);
				ucbuff[3] = (UCHAR)mph;
				ucbuff[4] = (UCHAR)(mph << 8);
*/
				ucbuff[1] = buff[0];		// fpga sends the low byte 1st
				ucbuff[2] = buff[1];
				ucbuff[3] = buff[2];
				ucbuff[4] = buff[3];

				avr_buffer[0] = pack64(ucbuff);
				xQueueSend(Send7200Handle, avr_buffer, 0);
			}
				//vTaskDelay(100);

			if(send_adc == 1)
			{
				ucbuff[0] = SEND_RT_VALUES2;	// the 1st 4 MCP ADC values
				ucbuff[1] = buff[4];
				ucbuff[2] = buff[5];
				ucbuff[3] = buff[6];
				ucbuff[4] = buff[7];

				avr_buffer[0] = pack64(ucbuff);
				xQueueSend(Send7200Handle, avr_buffer, 0);

				ucbuff[0] = SEND_RT_VALUES3;	// the 2nd 4 MCP ADC values
				ucbuff[1] = buff[8];
				ucbuff[2] = buff[9];
				ucbuff[3] = buff[10];
				ucbuff[4] = buff[11];
				avr_buffer[0] = pack64(ucbuff);
				xQueueSend(Send7200Handle, avr_buffer, 0);
			}
			ucbuff[0] = SEND_RT_FPGA_STATUS;
			ucbuff[1] = buff[12];
			ucbuff[2] = buff[13];
			ucbuff[3] = buff[14];
			ucbuff[4] = buff[15];
			avr_buffer[0] = pack64(ucbuff);
			xQueueSend(Send7200Handle, avr_buffer, 0);

			//memset(buff,0x30,sizeof(buff));
		}else
		{
//			buff[frame_ptr] = (xbyte & 0x7F);		// test for broken wire (in this case bit 7)
			buff[frame_ptr] = xbyte;
			frame_ptr++;
		}
		HAL_GPIO_WritePin(GPIOA, PP_ACK_Pin, GPIO_PIN_SET);
		vTaskDelay(5);
		HAL_GPIO_WritePin(GPIOA, PP_ACK_Pin, GPIO_PIN_RESET);
		xbyte = 0;
		}else vTaskDelay(1000);
	}
  /* USER CODE END StartRecvFPGA */
}

void StartKeyStateTask(void const * argument)
{
  /* USER CODE BEGIN StartKeyStateTask */
 	static UCHAR key;
	unsigned long sendval;
	uint64_t avr_buffer[5];
	UCHAR ucbuff[10];
	e_isrState = STATE_WAIT_FOR_PRESS;

	vTaskDelay(1000);
  /* Infinite loop */

	for(;;)
	{
		switch (e_isrState)
		{
			case STATE_WAIT_FOR_PRESS:
				key = do_keyscan();
				if(key != 0)
				{
					e_isrState = STATE_WAIT_FOR_RELEASE;
					if(key_mode == NORMAL)
					{
						ucbuff[0] = DTMF_TONE_ON;
						if(key == KP_0)
							ucbuff[1] = 0;
						else
							ucbuff[1] = key-KP_1+1;
						avr_buffer[0] = pack64(ucbuff);
						xQueueSend(SendFPGAHandle,avr_buffer,0);
					}
				}
				break;

			case STATE_WAIT_FOR_RELEASE:
				//keypad released
				if(key_is_released() == 1)
				{
					e_isrState = STATE_WAIT_FOR_PRESS;
					drive_row_high();
					sendval = (unsigned long)key;
					xQueueSend(keypressedHandle, &sendval, 0);
					if(key_mode == NORMAL)
					{
						ucbuff[0] = DTMF_TONE_OFF;
						avr_buffer[0] = pack64(ucbuff);
						vTaskDelay(5);
						xQueueSend(SendFPGAHandle,avr_buffer,0);
					}
					key = 0;
				}
				break;
			default:
				e_isrState = STATE_WAIT_FOR_PRESS;
				break;
		}
		vTaskDelay(10);
	}
  /* USER CODE END StartKeyStateTask */
}

/* Callback01 function */
void Callback01(void const * argument)
{
  /* USER CODE BEGIN Callback01 */

	if(server_up == 1)
	{
#if 0
		if(password_countdown > 0)
		{
			if(password_countdown == 1)
			{
				global_cmd = SHUTDOWN;
				global_ucbuff[0] = global_cmd;
				global_avr_buffer[0] = pack64(global_ucbuff);
				xQueueSend(Send7200Handle, global_avr_buffer, 0);
				engine_on = 0;
				vTaskDelay(100);
				global_ucbuff[0] = DTMF_TONE_OFF;
				global_avr_buffer[0] = pack64(global_ucbuff);
				xQueueSend(SendFPGAHandle,global_avr_buffer,0);
				key_mode = NORMAL;
			}
			password_countdown--;

			if((password_countdown % 2) == 0)
			{
				global_ucbuff[0] = DTMF_TONE_ON;
				global_ucbuff[1] = 0;
				global_avr_buffer[0] = pack64(global_ucbuff);
				xQueueSend(SendFPGAHandle,global_avr_buffer,0);
				vTaskDelay(10);
				global_ucbuff[0] = DTMF_TONE_OFF;
				global_avr_buffer[0] = pack64(global_ucbuff);
				xQueueSend(SendFPGAHandle,global_avr_buffer,0);
			}else
			{
				global_ucbuff[0] = DTMF_TONE_ON;
				global_ucbuff[1] = 1;
				global_avr_buffer[0] = pack64(global_ucbuff);
				xQueueSend(SendFPGAHandle,global_avr_buffer,0);
				vTaskDelay(10);
				global_ucbuff[0] = DTMF_TONE_OFF;
				global_avr_buffer[0] = pack64(global_ucbuff);
				xQueueSend(SendFPGAHandle,global_avr_buffer,0);
			}
		}
#endif

		// do the DS1620 temp conversion every second
		// raw_data is engine temp

		writeByteTo1620(DS1620_CMD_STARTCONV);
		vTaskDelay(30);
		raw_data = readTempFrom1620();
		vTaskDelay(30);
		writeByteTo1620(DS1620_CMD_STOPCONV);
		vTaskDelay(100);

		temp_raw = raw_data;	// use temp_raw because it gets butcherd
		global_ucbuff[0] = ENGINE_TEMP;
		global_ucbuff[2] = (UCHAR)temp_raw;
		temp_raw >>= 8;
		global_ucbuff[1] = (UCHAR)temp_raw;		// send high byte 1st
		global_avr_buffer[0] = pack64(global_ucbuff);
		xQueueSend(Send7200Handle, global_avr_buffer, 0);
		vTaskDelay(100);

		// raw_data2 is indoor temp
		writeByteTo16202(DS1620_CMD_STARTCONV);
		vTaskDelay(30);
		raw_data2 = readTempFrom16202();
		vTaskDelay(30);
		writeByteTo16202(DS1620_CMD_STOPCONV);
		vTaskDelay(100);

		temp_raw = raw_data2;
		global_ucbuff[0] = INDOOR_TEMP;
		global_ucbuff[2] = (UCHAR)temp_raw;
		temp_raw >>= 8;
		global_ucbuff[1] = (UCHAR)temp_raw;		// send high byte 1st
		global_avr_buffer[0] = pack64(global_ucbuff);
		xQueueSend(Send7200Handle, global_avr_buffer, 0);
		vTaskDelay(100);

/*
257.0 = 250
256.1 = 249
255.2 = 248
...
34.7 = 3
33.8 = 2
32.9 = 1
31.1 = 511
30.2 = 510
...
-65.2 = 404
-66.1 = 403
if temp is below 32.9 then raw_data returned is
511 down to 403 so just subtract 511 and make it
a negative number (31.1 = 0, 30.2 = -1 ... -65.2 = -107,-66.1 = -108
*/

		if(raw_data <= 511 && raw_data >= 403)
		{
			raw_data =- 511;
		}

		if(raw_data2 <= 511 && raw_data2 >= 403)
		{
			raw_data2 =- 511;
		}

		if(blower_on_countdown != 0)
			blower_on_countdown--;

		if(too_high_flag == 0 && raw_data > engine_temp_limit)
		{
			// sound alarm
			global_ucbuff[0] = SPECIAL_TONE_ON;
			global_avr_buffer[0] = pack64(global_ucbuff);
			xQueueSend(SendFPGAHandle,global_avr_buffer,0);
			vTaskDelay(100);
			global_cmd = TEMP_TOO_HIGH;
			global_ucbuff[0] = global_cmd;
			global_avr_buffer[0] = pack64(global_ucbuff);
			xQueueSend(Send7200Handle, global_avr_buffer, 0);
			too_high_flag = 1;

		}else if(too_high_flag == 1)		// must be else or else
		{
			global_ucbuff[0] = DTMF_TONE_OFF;
			global_avr_buffer[0] = pack64(global_ucbuff);
			xQueueSend(SendFPGAHandle,global_avr_buffer,0);
			too_high_flag = 0;
		}

		if(engine_on > 0 && fan_on == 0 && raw_data >= fan_on_temp)
		{
			global_cmd = ON_FAN;
			global_ucbuff[0] = global_cmd;
			fan_on = 1;
			global_avr_buffer[0] = pack64(global_ucbuff);
			xQueueSend(Send7200Handle, global_avr_buffer, 0);
			vTaskDelay(200);
		}

		if(cooling_fan_override == 0 && fan_on == 1 && raw_data <= fan_off_temp)
		{
			global_cmd = OFF_FAN;
			global_ucbuff[0] = global_cmd;
			fan_on = 0;
			global_avr_buffer[0] = pack64(global_ucbuff);
			xQueueSend(Send7200Handle, global_avr_buffer, 0);
		}
#if 0
//currently have the blower on a 'hard-wired' switch
		if((raw_data > blower_en_temp && engine_on > 0) && blower_on_countdown == 0)
//			if(raw_data > blower_en_temp && engine_on > 0)
		{
			if(blower_override == 0 && raw_data2 < blower3_temp && blower_on != 3)
			{
				global_cmd = BLOWER3;
				global_ucbuff[0] = global_cmd;
				global_avr_buffer[0] = pack64(global_ucbuff);
				xQueueSend(Send7200Handle, global_avr_buffer, 0);
				blower_on = 3;

			}else if(blower_override == 0 && raw_data2 < blower2_temp
					&& raw_data2 > blower3_temp && blower_on != 2)
			{
				global_cmd = BLOWER2;
				global_ucbuff[0] = global_cmd;
				global_avr_buffer[0] = pack64(global_ucbuff);
				xQueueSend(Send7200Handle, global_avr_buffer, 0);
				blower_on = 2;

			}else if(blower_override == 0 && raw_data2 < blower1_temp
					&& raw_data2 > blower2_temp && blower_on != 1)
			{
				global_cmd = BLOWER1;
				global_ucbuff[0] = global_cmd;
				global_avr_buffer[0] = pack64(global_ucbuff);
				xQueueSend(Send7200Handle, global_avr_buffer, 0);
				blower_on = 1;

			}else if(raw_data2 > blower1_temp && blower_on != 0)
			{
				global_cmd = BLOWER_OFF;
				global_ucbuff[0] = global_cmd;
				global_avr_buffer[0] = pack64(global_ucbuff);
				xQueueSend(Send7200Handle, global_avr_buffer, 0);
				blower_on = 0;
			}
		}
#endif
/*
if(test_rise_temp == 0)
	raw_data += 2;				// used for testing
else raw_data -= 2;
temp_raw = raw_data;

if(raw_data > 209)
	test_rise_temp = 1;

if(raw_data < 121)
	test_rise_temp = 0;
*/
//#if 0
		if(timer_toggle == 0)
		{
			HAL_GPIO_WritePin(LD3_GPIO_Port, LD3_Pin, GPIO_PIN_RESET);
			HAL_GPIO_WritePin(LD4_GPIO_Port, LD4_Pin, GPIO_PIN_SET);
			timer_toggle = 1;
		}else
		{
			HAL_GPIO_WritePin(LD4_GPIO_Port, LD4_Pin, GPIO_PIN_RESET);
			HAL_GPIO_WritePin(LD3_GPIO_Port, LD3_Pin, GPIO_PIN_SET);
			timer_toggle = 0;
		}
//#endif
	}	// end of 'if server up'
  /* USER CODE END Callback01 */
}

/* USER CODE BEGIN Application */
void HAL_UART_TxCpltCallback(UART_HandleTypeDef *huart)
{
	if(huart->Instance == USART1)
	{
	}
}

void HAL_UART_RxCpltCallback(UART_HandleTypeDef *huart)
{
//	UCHAR cmd;

	if(huart->Instance == USART1)
	{
	}
}
uint64_t pack64(UCHAR *buff)
{
	uint64_t var64;

	var64 = (uint64_t)buff[7];
	var64 <<= 8;
	var64 |= (uint64_t)buff[6];
	var64 <<= 8;
	var64 |= (uint64_t)buff[5];
	var64 <<= 8;
	var64 |= (uint64_t)buff[4];
	var64 <<= 8;
	var64 |= (uint64_t)buff[3];
	var64 <<= 8;
	var64 |= (uint64_t)buff[2];
	var64 <<= 8;
	var64 |= (uint64_t)buff[1];
	var64 <<= 8;
	var64 |= (uint64_t)buff[0];
	return var64;
}
/* USER CODE END Application */

/************************ (C) COPYRIGHT STMicroelectronics *****END OF FILE****/
